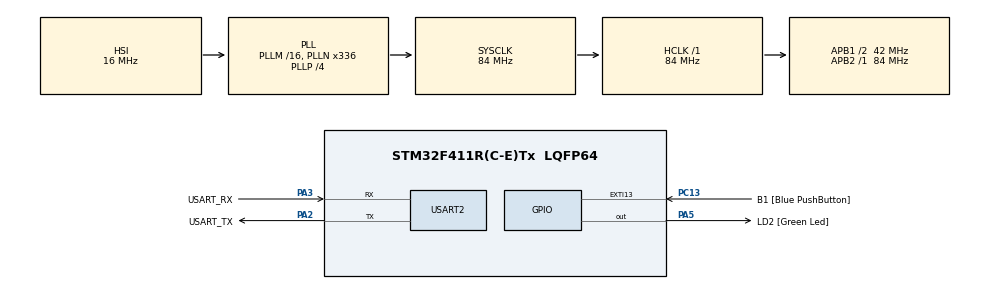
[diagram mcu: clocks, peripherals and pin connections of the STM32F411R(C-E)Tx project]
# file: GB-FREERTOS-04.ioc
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FREERTOS.Tasks01=buttonTask,0,128,StartButtonTask,Default,NULL,Dynamic,NULL,NULL
FREERTOS.Timers01=ledTimer,ledTimerCallback,osTimerPeriodic,Default,NULL,Dynamic,NULL;iwdgResetTimer,iwdgResetTimerCallback,osTimerPeriodic,Default,NULL,Dynamic,NULL
FREERTOS.configUSE_TIMERS=1
IWDG.Prescaler=IWDG_PRESCALER_32
Mcu.Family=STM32F4
Mcu.Name=STM32F411R(C-E)Tx
Mcu.Package=LQFP64
NVIC.PriorityGroup=NVIC_PRIORITYGROUP_4
NVIC.TIM2_IRQn=true\:15\:0\:false\:false\:true\:false\:false\:true
NVIC.TimeBase=TIM2_IRQn
NVIC.TimeBaseIP=TIM2
PA13.GPIO_Label=TMS
PA13.Mode=Serial_Wire
PA13.Signal=SYS_JTMS-SWDIO
PA14.GPIO_Label=TCK
PA14.Mode=Serial_Wire
PA14.Signal=SYS_JTCK-SWCLK
PA2.GPIO_Label=USART_TX
PA2.Mode=Asynchronous
PA2.Signal=USART2_TX
PA3.GPIO_Label=USART_RX
PA3.Mode=Asynchronous
PA3.Signal=USART2_RX
PA5.GPIO_Label=LD2 [Green Led]
PA5.Signal=GPIO_Output
PB3.GPIO_Label=SWO
PB3.Signal=SYS_JTDO-SWO
PC13-ANTI_TAMP.GPIO_Label=B1 [Blue PushButton]
PC13-ANTI_TAMP.GPIO_ModeDefaultEXTI=GPIO_MODE_IT_FALLING
PC13-ANTI_TAMP.GPIO_PuPd=GPIO_PULLUP
PC13-ANTI_TAMP.Signal=GPXTI13
PC14-OSC32_IN.Mode=LSE-External-Oscillator
PC14-OSC32_IN.Signal=RCC_OSC32_IN
PC15-OSC32_OUT.Mode=LSE-External-Oscillator
PC15-OSC32_OUT.Signal=RCC_OSC32_OUT
PH0\ -\ OSC_IN.Mode=HSE-External-Clock-Source
PH0\ -\ OSC_IN.Signal=RCC_OSC_IN
PH1\ -\ OSC_OUT.Mode=HSE-External-Clock-Source
PH1\ -\ OSC_OUT.Signal=RCC_OSC_OUT
ProjectManager.HeapSize=0x200
ProjectManager.StackSize=0x400
ProjectManager.TargetToolchain=STM32CubeIDE
RCC.48MHZClocksFreq_Value=84000000
RCC.AHBFreq_Value=84000000
RCC.APB1CLKDivider=RCC_HCLK_DIV2
RCC.APB1Freq_Value=42000000
RCC.APB1TimFreq_Value=84000000
RCC.APB2Freq_Value=84000000
RCC.APB2TimFreq_Value=84000000
RCC.CortexFreq_Value=84000000
RCC.FLatency-AdvancedSettings=FLASH_LATENCY_2
RCC.HCLKFreq_Value=84000000
RCC.HSE_VALUE=8000000
RCC.HSI_VALUE=16000000
RCC.PLLN=336
RCC.PLLP=RCC_PLLP_DIV4
RCC.SYSCLKFreq_VALUE=84000000
RCC.SYSCLKSource=RCC_SYSCLKSOURCE_PLLCLK
RCC.VCOOutputFreq_Value=336000000
USART2.VirtualMode=VM_ASYNC
VP_FREERTOS_VS_CMSIS_V1.Mode=CMSIS_V1
VP_IWDG_VS_IWDG.Mode=IWDG_Activate
VP_SYS_VS_tim2.Mode=TIM2
board=NUCLEO-F411RE

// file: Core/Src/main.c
/* USER CODE BEGIN Header */
/**
  ******************************************************************************
  * @file           : main.c
  * @brief          : Main program body
  ******************************************************************************
  * @attention
  *
  * <h2><center>&copy; Copyright (c) 2021 STMicroelectronics.
  * All rights reserved.</center></h2>
  *
  * This software component is licensed by ST under BSD 3-Clause license,
  * the "License"; You may not use this file except in compliance with the
  * License. You may obtain a copy of the License at:
  *                        opensource.org/licenses/BSD-3-Clause
  *
  ******************************************************************************
  */
/* USER CODE END Header */
#include "main.h"
#include "cmsis_os.h"

/* USER CODE BEGIN Includes */
#include "stdio.h"
#include "string.h"
/* USER CODE END Includes */

IWDG_HandleTypeDef hiwdg;

UART_HandleTypeDef huart2;

osThreadId buttonTaskHandle;
osTimerId ledTimerHandle;
osTimerId iwdgResetTimerHandle;

void SystemClock_Config(void);
static void MX_GPIO_Init(void);
static void MX_USART2_UART_Init(void);
static void MX_IWDG_Init(void);
void StartButtonTask(void const * argument);
void ledTimerCallback(void const * argument);
void iwdgResetTimerCallback(void const * argument);

int main(void)
{

  /* MCU Configuration--------------------------------------------------------*/

  /* Reset of all peripherals, Initializes the Flash interface and the Systick. */
  HAL_Init();

  /* Configure the system clock */
  SystemClock_Config();

  /* Initialize all configured peripherals */
  MX_GPIO_Init();
  MX_USART2_UART_Init();
  MX_IWDG_Init();

  /* Create the timer(s) */
  /* definition and creation of ledTimer */
  osTimerDef(ledTimer, ledTimerCallback);
  ledTimerHandle = osTimerCreate(osTimer(ledTimer), osTimerPeriodic, NULL);

  /* definition and creation of iwdgResetTimer */
  osTimerDef(iwdgResetTimer, iwdgResetTimerCallback);
  iwdgResetTimerHandle = osTimerCreate(osTimer(iwdgResetTimer), osTimerPeriodic, NULL);

  /* USER CODE BEGIN RTOS_TIMERS */
  /* start timers, add new ones, ... */
  osTimerStart(ledTimerHandle, 1000);
  osTimerStart(iwdgResetTimerHandle, 500);
  /* USER CODE END RTOS_TIMERS */

  /* Create the thread(s) */
  /* definition and creation of buttonTask */
  osThreadDef(buttonTask, StartButtonTask, osPriorityNormal, 0, 128);
  buttonTaskHandle = osThreadCreate(osThread(buttonTask), NULL);

  /* Start scheduler */
  osKernelStart();

  /* We should never get here as control is now taken by the scheduler */
  /* Infinite loop */
  while (1)
  {

  }
}

void SystemClock_Config(void)
{
  RCC_OscInitTypeDef RCC_OscInitStruct = {0};
  RCC_ClkInitTypeDef RCC_ClkInitStruct = {0};

  /** Configure the main internal regulator output voltage
  */
  __HAL_RCC_PWR_CLK_ENABLE();
  __HAL_PWR_VOLTAGESCALING_CONFIG(PWR_REGULATOR_VOLTAGE_SCALE1);
  /** Initializes the RCC Oscillators according to the specified parameters
  * in the RCC_OscInitTypeDef structure.
  */
  RCC_OscInitStruct.OscillatorType = RCC_OSCILLATORTYPE_HSI|RCC_OSCILLATORTYPE_LSI;
  RCC_OscInitStruct.HSIState = RCC_HSI_ON;
  RCC_OscInitStruct.HSICalibrationValue = RCC_HSICALIBRATION_DEFAULT;
  RCC_OscInitStruct.LSIState = RCC_LSI_ON;
  RCC_OscInitStruct.PLL.PLLState = RCC_PLL_ON;
  RCC_OscInitStruct.PLL.PLLSource = RCC_PLLSOURCE_HSI;
  RCC_OscInitStruct.PLL.PLLM = 16;
  RCC_OscInitStruct.PLL.PLLN = 336;
  RCC_OscInitStruct.PLL.PLLP = RCC_PLLP_DIV4;
  RCC_OscInitStruct.PLL.PLLQ = 4;
  if (HAL_RCC_OscConfig(&RCC_OscInitStruct) != HAL_OK)
  {
    Error_Handler();
  }
  /** Initializes the CPU, AHB and APB buses clocks
  */
  RCC_ClkInitStruct.ClockType = RCC_CLOCKTYPE_HCLK|RCC_CLOCKTYPE_SYSCLK
                              |RCC_CLOCKTYPE_PCLK1|RCC_CLOCKTYPE_PCLK2;
  RCC_ClkInitStruct.SYSCLKSource = RCC_SYSCLKSOURCE_PLLCLK;
  RCC_ClkInitStruct.AHBCLKDivider = RCC_SYSCLK_DIV1;
  RCC_ClkInitStruct.APB1CLKDivider = RCC_HCLK_DIV2;
  RCC_ClkInitStruct.APB2CLKDivider = RCC_HCLK_DIV1;

  if (HAL_RCC_ClockConfig(&RCC_ClkInitStruct, FLASH_LATENCY_2) != HAL_OK)
  {
    Error_Handler();
  }
}

static void MX_IWDG_Init(void)
{

  hiwdg.Instance = IWDG;
  hiwdg.Init.Prescaler = IWDG_PRESCALER_32;
  hiwdg.Init.Reload = 4095;
  if (HAL_IWDG_Init(&hiwdg) != HAL_OK)
  {
    Error_Handler();
  }

}

static void MX_USART2_UART_Init(void)
{

  huart2.Instance = USART2;
  huart2.Init.BaudRate = 115200;
  huart2.Init.WordLength = UART_WORDLENGTH_8B;
  huart2.Init.StopBits = UART_STOPBITS_1;
  huart2.Init.Parity = UART_PARITY_NONE;
  huart2.Init.Mode = UART_MODE_TX_RX;
  huart2.Init.HwFlowCtl = UART_HWCONTROL_NONE;
  huart2.Init.OverSampling = UART_OVERSAMPLING_16;
  if (HAL_UART_Init(&huart2) != HAL_OK)
  {
    Error_Handler();
  }

}

static void MX_GPIO_Init(void)
{
  GPIO_InitTypeDef GPIO_InitStruct = {0};

  /* GPIO Ports Clock Enable */
  __HAL_RCC_GPIOC_CLK_ENABLE();
  __HAL_RCC_GPIOH_CLK_ENABLE();
  __HAL_RCC_GPIOA_CLK_ENABLE();
  __HAL_RCC_GPIOB_CLK_ENABLE();

  /*Configure GPIO pin Output Level */
  HAL_GPIO_WritePin(LD2_GPIO_Port, LD2_Pin, GPIO_PIN_RESET);

  /*Configure GPIO pin : B1_Pin */
  GPIO_InitStruct.Pin = B1_Pin;
  GPIO_InitStruct.Mode = GPIO_MODE_IT_FALLING;
  GPIO_InitStruct.Pull = GPIO_PULLUP;
  HAL_GPIO_Init(B1_GPIO_Port, &GPIO_InitStruct);

  /*Configure GPIO pin : LD2_Pin */
  GPIO_InitStruct.Pin = LD2_Pin;
  GPIO_InitStruct.Mode = GPIO_MODE_OUTPUT_PP;
  GPIO_InitStruct.Pull = GPIO_NOPULL;
  GPIO_InitStruct.Speed = GPIO_SPEED_FREQ_LOW;
  HAL_GPIO_Init(LD2_GPIO_Port, &GPIO_InitStruct);

}

void StartButtonTask(void const * argument)
{
  /* USER CODE BEGIN 5 */
  uint8_t flag_key_press = 1;
  uint32_t time_key_press = 0;
  char buf[32] = {0};

  /* Infinite loop */
  for(;;)
  {
	if (HAL_GPIO_ReadPin(B1_GPIO_Port, B1_Pin) == GPIO_PIN_RESET && flag_key_press) {
	  flag_key_press = 0;
	  sprintf(buf, "Uptime: %lu millisec.\r\n", HAL_GetTick());
	  HAL_UART_Transmit(&huart2, (uint8_t *)buf , strlen(buf), portMAX_DELAY);
	  time_key_press = HAL_GetTick();
	}

	if (!flag_key_press && (HAL_GetTick() - time_key_press) > 300) {
	  flag_key_press = 1;
	}
    osDelay(100);
  }
  /* USER CODE END 5 */
}

/* ledTimerCallback function */
void ledTimerCallback(void const * argument)
{
  /* USER CODE BEGIN ledTimerCallback */
	HAL_GPIO_TogglePin(LD2_GPIO_Port, LD2_Pin);
  /* USER CODE END ledTimerCallback */
}

/* iwdgResetTimerCallback function */
void iwdgResetTimerCallback(void const * argument)
{
  /* USER CODE BEGIN iwdgResetTimerCallback */
  HAL_IWDG_Refresh(&hiwdg);
  /* USER CODE END iwdgResetTimerCallback */
}

void HAL_TIM_PeriodElapsedCallback(TIM_HandleTypeDef *htim)
{
  if (htim->Instance == TIM2) {
    HAL_IncTick();
  }
}

void Error_Handler(void)
{
  __disable_irq();
  while (1)
  {
  }
}

/************************ (C) COPYRIGHT STMicroelectronics *****END OF FILE****/
